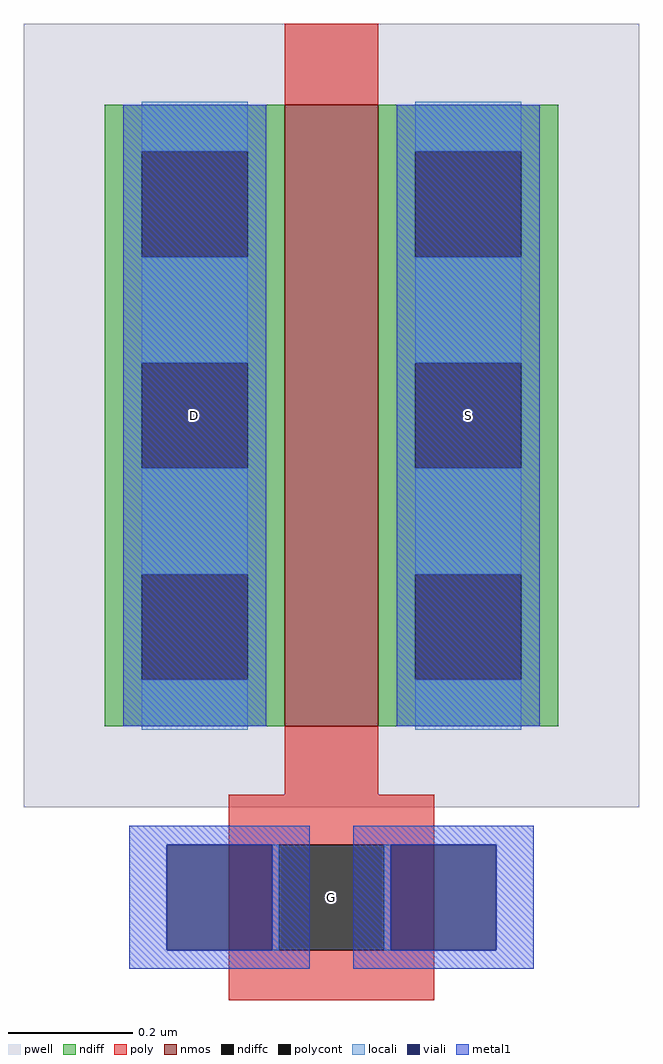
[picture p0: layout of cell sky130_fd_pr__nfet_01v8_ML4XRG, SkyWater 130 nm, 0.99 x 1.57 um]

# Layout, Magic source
magic
tech sky130B
magscale 1 2
<< pwell >>
rect -99 -95 99 157
<< nmos >>
rect -15 -69 15 131
<< ndiff >>
rect -73 116 -15 131
rect -73 82 -61 116
rect -27 82 -15 116
rect -73 48 -15 82
rect -73 14 -61 48
rect -27 14 -15 48
rect -73 -20 -15 14
rect -73 -54 -61 -20
rect -27 -54 -15 -20
rect -73 -69 -15 -54
rect 15 116 73 131
rect 15 82 27 116
rect 61 82 73 116
rect 15 48 73 82
rect 15 14 27 48
rect 61 14 73 48
rect 15 -20 73 14
rect 15 -54 27 -20
rect 61 -54 73 -20
rect 15 -69 73 -54
<< ndiffc >>
rect -61 82 -27 116
rect -61 14 -27 48
rect -61 -54 -27 -20
rect 27 82 61 116
rect 27 14 61 48
rect 27 -54 61 -20
<< poly >>
rect -15 131 15 157
rect -15 -91 15 -69
rect -33 -107 33 -91
rect -33 -141 -17 -107
rect 17 -141 33 -107
rect -33 -157 33 -141
<< polycont >>
rect -17 -141 17 -107
<< locali >>
rect -61 116 -27 132
rect -61 48 -27 82
rect -61 -20 -27 14
rect -61 -70 -27 -54
rect 27 116 61 132
rect 27 48 61 82
rect 27 -20 61 14
rect 27 -70 61 -54
rect -19 -141 -17 -107
rect 17 -141 19 -107
<< viali >>
rect -53 -141 -19 -107
rect 19 -141 53 -107
<< metal1 >>
rect -67 -69 -21 131
rect 21 -69 67 131
rect -65 -107 -7 -101
rect -65 -141 -53 -107
rect -19 -141 -7 -107
rect -65 -147 -7 -141
rect 7 -107 65 -101
rect 7 -141 19 -107
rect 53 -141 65 -107
rect 7 -147 65 -141
<< labels >>
rlabel locali s 0 -124 0 -124 4 G
rlabel locali s 44 31 44 31 4 S
rlabel locali s -44 31 -44 31 4 D
<< end >>
